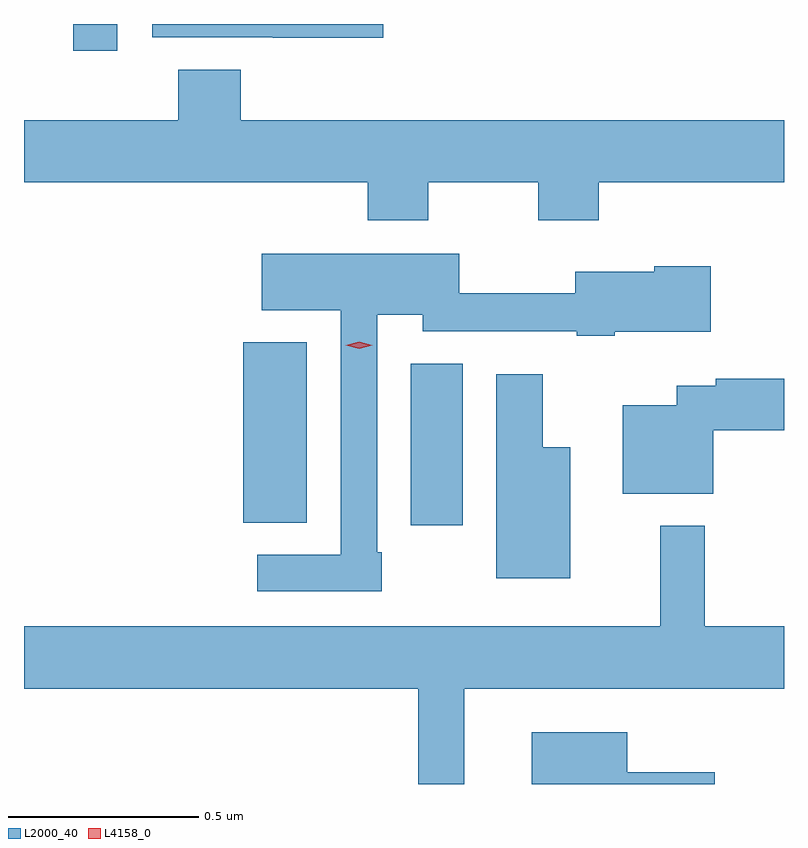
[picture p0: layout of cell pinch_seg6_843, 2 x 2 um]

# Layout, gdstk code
import gdstk
lib = gdstk.Library(unit=1e-6, precision=1e-09)
def R(c, l, rs):  # rectangles x0, y0, x1, y1
    for r in rs: c.add(gdstk.rectangle(r[:2], r[2:], *l))
def P(c, l, *ps):  # polygons
    for p in ps: c.add(gdstk.Polygon(p, *l))
L2000_40 = (2000, 40)
L4158_0 = (4158, 0)

pinch_seg6_843 = lib.new_cell('pinch_seg6_843')
R(pinch_seg6_843, L2000_40, [(194.441,965.082,194.578,965.507), (194,965.089,194.167,965.563), (193.553,966.33,193.668,966.401)])
P(pinch_seg6_843, L2000_40, [(194.369,966.401),(193.761,966.401),(193.761,966.366),(194.077,966.366),(194.077,966.365),(194.369,966.365)],
  [(194.487,965.984),(194.776,965.984),(194.776,965.885),(194.936,965.885),(194.936,965.984),(195.423,965.984),(195.423,966.148),(193.994,966.148),(193.994,966.281),(193.829,966.281),(193.829,966.148),(193.423,966.148),(193.423,965.984),(194.327,965.984),(194.327,965.885),(194.487,965.885)],
  [(194.365,965.011),(194.352,965.011),(194.352,965.636),(194.472,965.636),(194.472,965.592),(194.877,965.592),(194.877,965.58),(194.977,965.58),(194.977,965.591),(195.23,965.591),(195.23,965.764),(195.081,965.764),(195.081,965.749),(194.873,965.749),(194.873,965.693),(194.568,965.693),(194.568,965.797),(194.049,965.797),(194.049,965.648),(194.256,965.648),(194.256,965.004),(194.037,965.004),(194.037,964.908),(194.365,964.908)],
  [(194.86,965.287),(194.788,965.287),(194.788,965.479),(194.666,965.479),(194.666,964.943),(194.86,964.943)],
  [(195.237,965.332),(195.423,965.332),(195.423,965.468),(195.244,965.468),(195.244,965.449),(195.141,965.449),(195.141,965.398),(194.999,965.398),(194.999,965.165),(195.237,965.165)],
  [(194.581,964.652),(195.423,964.652),(195.423,964.816),(195.215,964.816),(195.215,965.08),(195.097,965.08),(195.097,964.816),(193.423,964.816),(193.423,964.652),(194.46,964.652),(194.46,964.401),(194.581,964.401)],
  [(195.241,964.432),(195.01,964.432),(195.01,964.537),(194.759,964.537),(194.759,964.401),(195.241,964.401)])
P(pinch_seg6_843, L4158_0, [(194.305,965.546),(194.27,965.556),(194.27,965.556),(194.27,965.556),(194.305,965.565),(194.34,965.555),(194.34,965.555),(194.34,965.555)])

lib.write_gds('pinch_seg6_843.gds')
